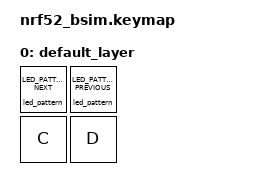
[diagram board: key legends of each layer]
/*
 * Copyright (c) 2026 amgskobo
 * SPDX-License-Identifier: MIT
 *
 * A split pair over BabbleSim. The halves link and sync; the central steps its
 * LED pattern once, and the peripheral steps it back with a key of its own,
 * which the central runs and mirrors. (A reset is not part of it: a simulated
 * device that reboots exits, and the simulation ends with it.)
 */

#include <behaviors.dtsi>
#include <dt-bindings/zmk/keys.h>
#include <dt-bindings/zmk/kscan_mock.h>
#include <dt-bindings/zmk/led_pattern.h>
#include <zephyr/dt-bindings/gpio/gpio.h>

#include "shared.dtsi"

/* Step the pattern on the central well after the pair has synced. */
&kscan {
    /delete-property/ exit-after;
    events = <ZMK_MOCK_PRESS(0,0,8000) ZMK_MOCK_RELEASE(0,0,200)>;
};

/ {
    keymap {
        compatible = "zmk,keymap";

        default_layer {
            bindings = <
            &led_pattern LED_PATTERN_NEXT &led_pattern LED_PATTERN_PREVIOUS
            &kp C &kp D>;
        };
    };
};
